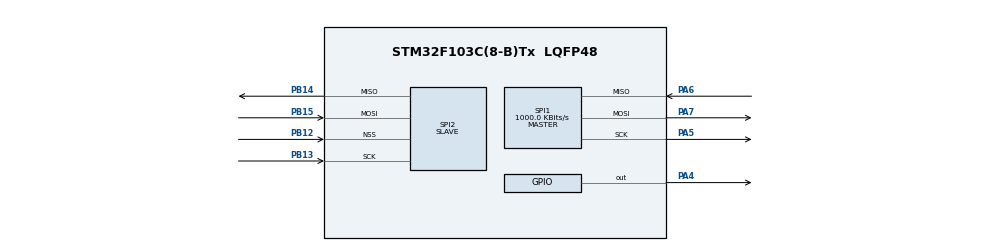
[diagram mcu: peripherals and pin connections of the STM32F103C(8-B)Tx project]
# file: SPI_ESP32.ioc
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Dma.Request0=SPI2_RX
Dma.Request1=SPI2_TX
Dma.Request2=SPI1_RX
Dma.Request3=SPI1_TX
Dma.SPI1_RX.2.Direction=DMA_PERIPH_TO_MEMORY
Dma.SPI1_RX.2.Instance=DMA1_Channel2
Dma.SPI1_RX.2.MemDataAlignment=DMA_MDATAALIGN_BYTE
Dma.SPI1_RX.2.MemInc=DMA_MINC_ENABLE
Dma.SPI1_RX.2.Mode=DMA_CIRCULAR
Dma.SPI1_RX.2.PeriphDataAlignment=DMA_PDATAALIGN_BYTE
Dma.SPI1_RX.2.PeriphInc=DMA_PINC_DISABLE
Dma.SPI1_RX.2.Priority=DMA_PRIORITY_LOW
Dma.SPI1_TX.3.Direction=DMA_MEMORY_TO_PERIPH
Dma.SPI1_TX.3.Instance=DMA1_Channel3
Dma.SPI1_TX.3.MemDataAlignment=DMA_MDATAALIGN_BYTE
Dma.SPI1_TX.3.MemInc=DMA_MINC_ENABLE
Dma.SPI1_TX.3.Mode=DMA_CIRCULAR
Dma.SPI1_TX.3.PeriphDataAlignment=DMA_PDATAALIGN_BYTE
Dma.SPI1_TX.3.PeriphInc=DMA_PINC_DISABLE
Dma.SPI1_TX.3.Priority=DMA_PRIORITY_LOW
Dma.SPI2_RX.0.Direction=DMA_PERIPH_TO_MEMORY
Dma.SPI2_RX.0.Instance=DMA1_Channel4
Dma.SPI2_RX.0.MemDataAlignment=DMA_MDATAALIGN_BYTE
Dma.SPI2_RX.0.MemInc=DMA_MINC_ENABLE
Dma.SPI2_RX.0.Mode=DMA_CIRCULAR
Dma.SPI2_RX.0.PeriphDataAlignment=DMA_PDATAALIGN_BYTE
Dma.SPI2_RX.0.PeriphInc=DMA_PINC_DISABLE
Dma.SPI2_RX.0.Priority=DMA_PRIORITY_LOW
Dma.SPI2_TX.1.Direction=DMA_MEMORY_TO_PERIPH
Dma.SPI2_TX.1.Instance=DMA1_Channel5
Dma.SPI2_TX.1.MemDataAlignment=DMA_MDATAALIGN_BYTE
Dma.SPI2_TX.1.MemInc=DMA_MINC_ENABLE
Dma.SPI2_TX.1.Mode=DMA_CIRCULAR
Dma.SPI2_TX.1.PeriphDataAlignment=DMA_PDATAALIGN_BYTE
Dma.SPI2_TX.1.PeriphInc=DMA_PINC_DISABLE
Dma.SPI2_TX.1.Priority=DMA_PRIORITY_LOW
Mcu.Family=STM32F1
Mcu.Name=STM32F103C(8-B)Tx
Mcu.Package=LQFP48
NVIC.DMA1_Channel2_IRQn=true\:0\:0\:false\:false\:true\:false\:true\:true
NVIC.DMA1_Channel3_IRQn=true\:0\:0\:false\:false\:true\:false\:true\:true
NVIC.DMA1_Channel4_IRQn=true\:0\:0\:false\:false\:true\:false\:true\:true
NVIC.DMA1_Channel5_IRQn=true\:0\:0\:false\:false\:true\:false\:true\:true
NVIC.PriorityGroup=NVIC_PRIORITYGROUP_4
NVIC.SPI1_IRQn=true\:0\:0\:true\:false\:true\:true\:true\:true
NVIC.SPI2_IRQn=true\:0\:0\:true\:false\:true\:true\:true\:true
PA13.Mode=Serial_Wire
PA13.Signal=SYS_JTMS-SWDIO
PA14.Mode=Serial_Wire
PA14.Signal=SYS_JTCK-SWCLK
PA4.PinState=GPIO_PIN_SET
PA4.Signal=GPIO_Output
PA5.Mode=Full_Duplex_Master
PA5.Signal=SPI1_SCK
PA6.Mode=Full_Duplex_Master
PA6.Signal=SPI1_MISO
PA7.Mode=Full_Duplex_Master
PA7.Signal=SPI1_MOSI
PB12.Mode=NSS_Signal_Hard_Input
PB12.Signal=SPI2_NSS
PB13.Mode=Full_Duplex_Slave
PB13.Signal=SPI2_SCK
PB14.Mode=Full_Duplex_Slave
PB14.Signal=SPI2_MISO
PB15.Mode=Full_Duplex_Slave
PB15.Signal=SPI2_MOSI
ProjectManager.HeapSize=0x200
ProjectManager.StackSize=0x400
ProjectManager.TargetToolchain=MDK-ARM V5.32
RCC.APB1Freq_Value=8000000
RCC.APB2Freq_Value=8000000
SPI1.BaudRatePrescaler=SPI_BAUDRATEPRESCALER_8
SPI1.CalculateBaudRate=1000.0 KBits/s
SPI1.DataSize=SPI_DATASIZE_8BIT
SPI1.Direction=SPI_DIRECTION_2LINES
SPI1.Mode=SPI_MODE_MASTER
SPI1.VirtualType=VM_MASTER
SPI2.DataSize=SPI_DATASIZE_8BIT
SPI2.Direction=SPI_DIRECTION_2LINES
SPI2.Mode=SPI_MODE_SLAVE
SPI2.VirtualNSS=VM_NSSHARD
SPI2.VirtualType=VM_SLAVE
board=custom

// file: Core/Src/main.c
/* USER CODE BEGIN Header */
/**
  ******************************************************************************
  * @file           : main.c
  * @brief          : Main program body
  ******************************************************************************
  * @attention
  *
  * Copyright (c) 2024 STMicroelectronics.
  * All rights reserved.
  *
  * This software is licensed under terms that can be found in the LICENSE file
  * in the root directory of this software component.
  * If no LICENSE file comes with this software, it is provided AS-IS.
  *
  ******************************************************************************
  */
/* USER CODE END Header */
#include "main.h"

/* USER CODE BEGIN Includes */
#include <stdio.h>
#define sizeofBuff 20
uint8_t u8_SPI1_TxBuff[sizeofBuff]="Master send";
uint8_t u8_SPI1_TxBuff1[sizeofBuff]="Hello world";
uint8_t u8_SPI1_TxReceive[sizeofBuff];
uint8_t u8_SPI2_RxBuff[sizeofBuff];
uint8_t u8_SPI2_RxSend[sizeofBuff]="from master";
uint8_t u8_SPI2_RxSend1[sizeofBuff]="Da nhan duoc";
uint8_t count=0;
uint8_t bufferDR;
/* USER CODE END Includes */

SPI_HandleTypeDef hspi1;
SPI_HandleTypeDef hspi2;
DMA_HandleTypeDef hdma_spi1_rx;
DMA_HandleTypeDef hdma_spi1_tx;
DMA_HandleTypeDef hdma_spi2_rx;
DMA_HandleTypeDef hdma_spi2_tx;

void SystemClock_Config(void);
static void MX_GPIO_Init(void);
static void MX_DMA_Init(void);
static void MX_SPI1_Init(void);
static void MX_SPI2_Init(void);

/* USER CODE BEGIN 0 */
void HAL_SPI_RxCpltCallback(SPI_HandleTypeDef *hspi){
	if(hspi->Instance == SPI2){
		HAL_SPI_Receive_IT(&hspi2,u8_SPI2_RxBuff,sizeofBuff);
	}
}
void HAL_SPI_TxCpltCallback(SPI_HandleTypeDef *hspi){
	if(hspi->Instance == SPI2){
		HAL_SPI_Transmit_IT(&hspi1,u8_SPI1_TxBuff,sizeofBuff);
	}
}
/* USER CODE END 0 */

int main(void)
{

  /* MCU Configuration--------------------------------------------------------*/

  /* Reset of all peripherals, Initializes the Flash interface and the Systick. */
  HAL_Init();

  /* Configure the system clock */
  SystemClock_Config();

  /* Initialize all configured peripherals */
  MX_GPIO_Init();
  MX_DMA_Init();
  MX_SPI1_Init();
  MX_SPI2_Init();
  /* USER CODE BEGIN 2 */

	GPIOA->BSRR = 1 << 20;

	HAL_SPI_Receive_DMA(&hspi2, u8_SPI2_RxBuff, sizeofBuff);
	HAL_SPI_Transmit(&hspi1, u8_SPI1_TxBuff, sizeofBuff, 100);

	GPIOA->BSRR = 1 << 4;
	HAL_Delay(1000);

	GPIOA->BSRR=1<<20;
	HAL_SPI_Transmit_IT(&hspi2,u8_SPI2_RxSend,sizeofBuff);
	HAL_SPI_Receive(&hspi1,u8_SPI1_TxReceive,sizeofBuff,100);

  /* USER CODE END 2 */

  /* Infinite loop */
  while (1)
  {

    /* USER CODE BEGIN 3 */

			/*HAL_SPI_Transmit_IT(&hspi2,u8_SPI2_RxSend,sizeofBuff);
	HAL_SPI_Receive(&hspi1,u8_SPI1_TxReceive,sizeofBuff,100);
		HAL_Delay(1000);

			HAL_SPI_Transmit_IT(&hspi2,u8_SPI2_RxSend1,sizeofBuff);
	HAL_SPI_Receive(&hspi1,u8_SPI1_TxReceive,sizeofBuff,100);
		HAL_Delay(1000);*/
  }
  /* USER CODE END 3 */
}

void SystemClock_Config(void)
{
  RCC_OscInitTypeDef RCC_OscInitStruct = {0};
  RCC_ClkInitTypeDef RCC_ClkInitStruct = {0};

  /** Initializes the RCC Oscillators according to the specified parameters
  * in the RCC_OscInitTypeDef structure.
  */
  RCC_OscInitStruct.OscillatorType = RCC_OSCILLATORTYPE_HSI;
  RCC_OscInitStruct.HSIState = RCC_HSI_ON;
  RCC_OscInitStruct.HSICalibrationValue = RCC_HSICALIBRATION_DEFAULT;
  RCC_OscInitStruct.PLL.PLLState = RCC_PLL_NONE;
  if (HAL_RCC_OscConfig(&RCC_OscInitStruct) != HAL_OK)
  {
    Error_Handler();
  }

  /** Initializes the CPU, AHB and APB buses clocks
  */
  RCC_ClkInitStruct.ClockType = RCC_CLOCKTYPE_HCLK|RCC_CLOCKTYPE_SYSCLK
                              |RCC_CLOCKTYPE_PCLK1|RCC_CLOCKTYPE_PCLK2;
  RCC_ClkInitStruct.SYSCLKSource = RCC_SYSCLKSOURCE_HSI;
  RCC_ClkInitStruct.AHBCLKDivider = RCC_SYSCLK_DIV1;
  RCC_ClkInitStruct.APB1CLKDivider = RCC_HCLK_DIV1;
  RCC_ClkInitStruct.APB2CLKDivider = RCC_HCLK_DIV1;

  if (HAL_RCC_ClockConfig(&RCC_ClkInitStruct, FLASH_LATENCY_0) != HAL_OK)
  {
    Error_Handler();
  }
}

static void MX_SPI1_Init(void)
{

  /* SPI1 parameter configuration*/
  hspi1.Instance = SPI1;
  hspi1.Init.Mode = SPI_MODE_MASTER;
  hspi1.Init.Direction = SPI_DIRECTION_2LINES;
  hspi1.Init.DataSize = SPI_DATASIZE_8BIT;
  hspi1.Init.CLKPolarity = SPI_POLARITY_LOW;
  hspi1.Init.CLKPhase = SPI_PHASE_1EDGE;
  hspi1.Init.NSS = SPI_NSS_SOFT;
  hspi1.Init.BaudRatePrescaler = SPI_BAUDRATEPRESCALER_8;
  hspi1.Init.FirstBit = SPI_FIRSTBIT_MSB;
  hspi1.Init.TIMode = SPI_TIMODE_DISABLE;
  hspi1.Init.CRCCalculation = SPI_CRCCALCULATION_DISABLE;
  hspi1.Init.CRCPolynomial = 10;
  if (HAL_SPI_Init(&hspi1) != HAL_OK)
  {
    Error_Handler();
  }

}

static void MX_SPI2_Init(void)
{

  /* SPI2 parameter configuration*/
  hspi2.Instance = SPI2;
  hspi2.Init.Mode = SPI_MODE_SLAVE;
  hspi2.Init.Direction = SPI_DIRECTION_2LINES;
  hspi2.Init.DataSize = SPI_DATASIZE_8BIT;
  hspi2.Init.CLKPolarity = SPI_POLARITY_LOW;
  hspi2.Init.CLKPhase = SPI_PHASE_1EDGE;
  hspi2.Init.NSS = SPI_NSS_HARD_INPUT;
  hspi2.Init.FirstBit = SPI_FIRSTBIT_MSB;
  hspi2.Init.TIMode = SPI_TIMODE_DISABLE;
  hspi2.Init.CRCCalculation = SPI_CRCCALCULATION_DISABLE;
  hspi2.Init.CRCPolynomial = 10;
  if (HAL_SPI_Init(&hspi2) != HAL_OK)
  {
    Error_Handler();
  }

}

static void MX_DMA_Init(void)
{

  /* DMA controller clock enable */
  __HAL_RCC_DMA1_CLK_ENABLE();

  /* DMA interrupt init */
  /* DMA1_Channel2_IRQn interrupt configuration */
  HAL_NVIC_SetPriority(DMA1_Channel2_IRQn, 0, 0);
  HAL_NVIC_EnableIRQ(DMA1_Channel2_IRQn);
  /* DMA1_Channel3_IRQn interrupt configuration */
  HAL_NVIC_SetPriority(DMA1_Channel3_IRQn, 0, 0);
  HAL_NVIC_EnableIRQ(DMA1_Channel3_IRQn);
  /* DMA1_Channel4_IRQn interrupt configuration */
  HAL_NVIC_SetPriority(DMA1_Channel4_IRQn, 0, 0);
  HAL_NVIC_EnableIRQ(DMA1_Channel4_IRQn);
  /* DMA1_Channel5_IRQn interrupt configuration */
  HAL_NVIC_SetPriority(DMA1_Channel5_IRQn, 0, 0);
  HAL_NVIC_EnableIRQ(DMA1_Channel5_IRQn);

}

static void MX_GPIO_Init(void)
{
  GPIO_InitTypeDef GPIO_InitStruct = {0};

  /* GPIO Ports Clock Enable */
  __HAL_RCC_GPIOA_CLK_ENABLE();
  __HAL_RCC_GPIOB_CLK_ENABLE();

  /*Configure GPIO pin Output Level */
  HAL_GPIO_WritePin(GPIOA, GPIO_PIN_4, GPIO_PIN_SET);

  /*Configure GPIO pin : PA4 */
  GPIO_InitStruct.Pin = GPIO_PIN_4;
  GPIO_InitStruct.Mode = GPIO_MODE_OUTPUT_PP;
  GPIO_InitStruct.Pull = GPIO_NOPULL;
  GPIO_InitStruct.Speed = GPIO_SPEED_FREQ_LOW;
  HAL_GPIO_Init(GPIOA, &GPIO_InitStruct);

}

void Error_Handler(void)
{
  __disable_irq();
  while (1)
  {
  }
}
